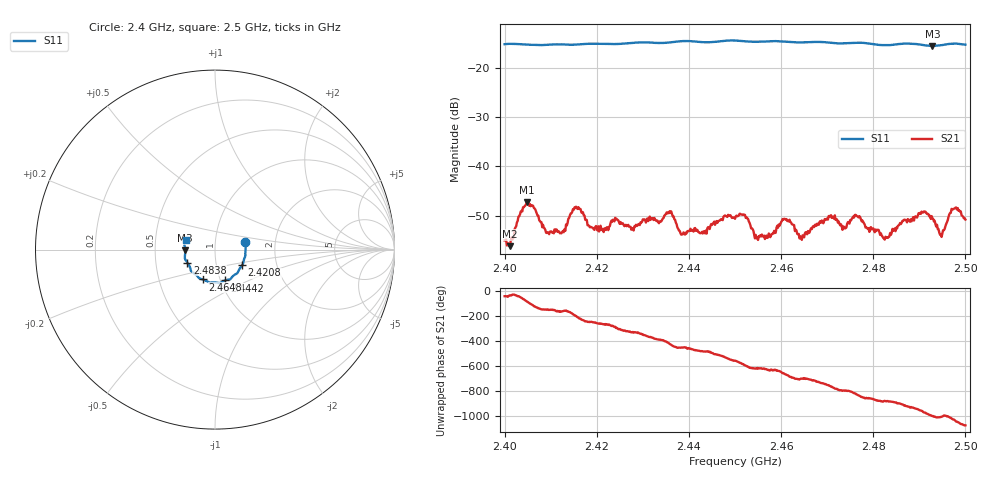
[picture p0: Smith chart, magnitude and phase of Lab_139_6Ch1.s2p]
# Hz S RI R 50
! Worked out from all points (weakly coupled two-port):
!   601 points, 2.4 GHz to 2.5 GHz, reference 50 ohm
!   highest |S21| = -47.22 dB at 2.4048 GHz (marker M1); lowest = -56.1 dB at 2.4012 GHz (marker M2)
!   lowest |S11| = -15.6 dB at 2.4928 GHz (marker M3), VSWR 1.40, Z = 35.8 - j0.363 ohm
!   |S11| at or under -10 dB: start of sweep to end of sweep
!   S12 and S22 are empty: the file has one direction only
!   S11 on the Smith chart (normalised r, x): 2.4 GHz: 1.40, +0.12; 2.4208 GHz: 1.33, -0.24; 2.4442 GHz: 1.05, -0.37; 2.4648 GHz: 0.83, -0.28; 2.4838 GHz: 0.73, -0.11; 2.5 GHz: 0.72, +0.08
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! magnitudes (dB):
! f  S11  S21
! 2.4 GHz  -15.3  -55.0
! 2.4012 GHz  -15.2  -56.1
! 2.4048 GHz  -15.4  -47.2
! 2.4095 GHz  -15.4  -53.5
! 2.4167 GHz  -15.2  -49.3
! 2.4208 GHz  -15.2  -52.0
! 2.4333 GHz  -15.0  -51.3
! 2.4357 GHz  -14.9  -49.5
! 2.4387 GHz  -14.6  -53.8
! 2.4442 GHz  -14.9  -52.3
! 2.45 GHz  -14.5  -50.6
! 2.4548 GHz  -14.8  -54.3
! 2.4607 GHz  -14.7  -50.6
! 2.4648 GHz  -14.9  -54.1
! 2.4667 GHz  -14.8  -52.7
! 2.4765 GHz  -15.0  -50.1
! 2.4833 GHz  -15.5  -54.3
! 2.4838 GHz  -15.4  -53.9
! 2.4928 GHz  -15.6  -50.5
! 2.4948 GHz  -15.5  -54.3
! 2.4975 GHz  -15.1  -48.6
! 2.5 GHz  -15.3  -50.7
